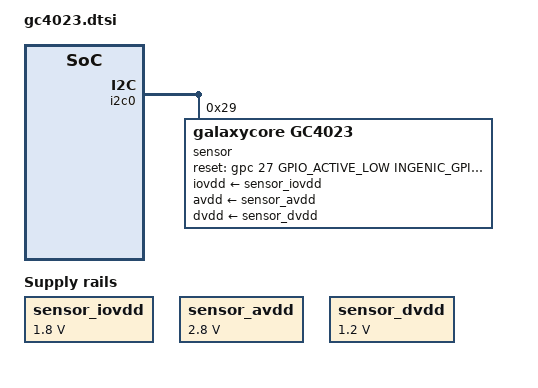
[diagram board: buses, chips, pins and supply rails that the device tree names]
// SPDX-License-Identifier: (GPL-2.0-only OR BSD-2-Clause)
/*
 * GalaxyCore GC4023 wiring shared by T41 boards.
 *
 * Board differences (reset GPIO, rail enables, a non-standard bus/address or
 * lane count) belong in the camera .dtsi as &sensor or &sensor_ep overrides.
 */

#include <dt-bindings/clock/ingenic,t41-cgu.h>
#include <dt-bindings/gpio/gpio.h>
#include <dt-bindings/pinctrl/ingenic-pinctrl.h>

/ {
	sensor_iovdd: sensor-iovdd {
		compatible = "regulator-fixed";
		regulator-name = "sensor-iovdd";
		regulator-min-microvolt = <1800000>;
		regulator-max-microvolt = <1800000>;
		regulator-always-on;
	};

	sensor_avdd: sensor-avdd {
		compatible = "regulator-fixed";
		regulator-name = "sensor-avdd";
		regulator-min-microvolt = <2800000>;
		regulator-max-microvolt = <2800000>;
		regulator-always-on;
	};

	sensor_dvdd: sensor-dvdd {
		compatible = "regulator-fixed";
		regulator-name = "sensor-dvdd";
		regulator-min-microvolt = <1200000>;
		regulator-max-microvolt = <1200000>;
		regulator-always-on;
	};
};

&i2c0 {
	sensor: camera@29 {
		compatible = "galaxycore,gc4023";
		reg = <0x29>;

		clocks = <&clock T41_CLK_CIM>;
		clock-names = "xclk";
		assigned-clocks = <&clock T41_CLK_CIM>;
		assigned-clock-rates = <27000000>;

		iovdd-supply = <&sensor_iovdd>;
		avdd-supply = <&sensor_avdd>;
		dvdd-supply = <&sensor_dvdd>;

		reset-gpios = <&gpc 27 GPIO_ACTIVE_LOW INGENIC_GPIO_NOBIAS>;

		port {
			sensor_ep: endpoint {
				data-lanes = <1 2>;
				link-frequencies = /bits/ 64 <432000000>;
			};
		};
	};
};
